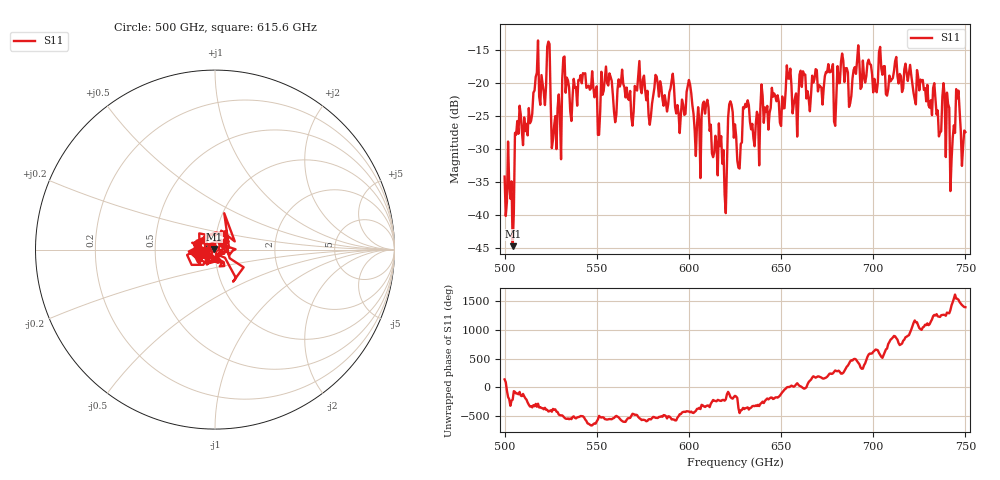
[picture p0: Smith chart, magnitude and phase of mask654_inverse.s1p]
!Created with skrf (http://scikit-rf.org).
# GHz S MA R 50.0
!freq magS11 angS11
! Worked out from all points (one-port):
!   401 points, 500 GHz to 750 GHz, reference 50 ohm
!   lowest |S11| = -44.7 dB at 504.4 GHz (marker M1), VSWR 1.01, Z = 49.5 + j0.333 ohm
!   |S11| at or under -10 dB: start of sweep to end of sweep
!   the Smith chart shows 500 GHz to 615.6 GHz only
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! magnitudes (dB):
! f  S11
! 500 GHz  -34.2
! 504.4 GHz  -44.7
! 506.9 GHz  -25.8
! 513.8 GHz  -26.1
! 516.9 GHz  -19.1
! 523.8 GHz  -13.8
! 526.9 GHz  -26.5
! 531.2 GHz  -19.4
! 562.5 GHz  -20.6
! 579.4 GHz  -25.0
! 590.6 GHz  -19.7
! 593.8 GHz  -23.4
! 600 GHz  -19.6
! 605 GHz  -23.7
! 609.4 GHz  -23.2
! 619.4 GHz  -36.9
! 622.5 GHz  -22.8
! 625 GHz  -26.3
! 656.2 GHz  -24.6
! 680 GHz  -22.1
! 683.8 GHz  -16.6
! 687.5 GHz  -23.1
! 691.2 GHz  -16.6
! 718.8 GHz  -19.7
! 739.4 GHz  -31.2
! 743.1 GHz  -28.3
! 745.6 GHz  -22.3
! 750 GHz  -27.4
